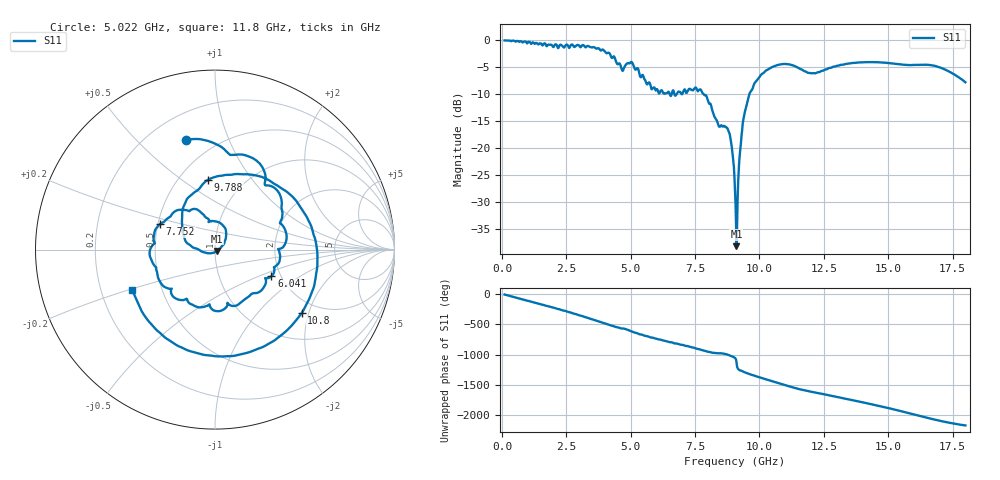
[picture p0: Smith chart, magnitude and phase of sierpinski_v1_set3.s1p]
!Keysight Technologies,N5222B,MY60213399,A.14.00.23
!Date: Monday, June 05, 2023 21:53:53
!Correction: S11(C  1-Port  )
!S1P File: Measurement: :
# Hz S  dB  R 50
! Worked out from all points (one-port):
!   1601 points, 100 MHz to 18 GHz, reference 50 ohm
!   lowest |S11| = -38.3 dB at 9.106 GHz (marker M1), VSWR 1.02, Z = 51 - j0.768 ohm
!   |S11| at or under -10 dB: 6.513 GHz to 6.588 GHz (75.12 MHz wide, 1.15 % of centre); 6.697 GHz to 6.78 GHz (82.57 MHz wide, 1.23 % of centre); 7.835 GHz to 9.611 GHz (1.776 GHz wide, 20.4 % of centre)
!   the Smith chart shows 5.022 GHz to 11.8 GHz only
!   S11 on the Smith chart (normalised r, x): 5.022 GHz: 0.35, +0.71; 6.041 GHz: 1.79, -0.60; 7.752 GHz: 0.51, +0.16; 9.788 GHz: 0.69, +0.63; 10.8 GHz: 1.63, -1.80; 11.8 GHz: 0.34, -0.21
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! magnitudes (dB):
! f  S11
! 100 MHz  0.0
! 2.337 GHz  -1.0
! 3.837 GHz  -1.9
! 4.575 GHz  -4.3
! 5.022 GHz  -4.0
! 6.041 GHz  -9.2
! 6.812 GHz  -9.8
! 7.752 GHz  -9.4
! 8.021 GHz  -11.5
! 8.39 GHz  -15.5
! 8.804 GHz  -16.9
! 8.938 GHz  -20.3
! 8.983 GHz  -22.5
! 9.05 GHz  -27.6
! 9.106 GHz  -38.3
! 9.162 GHz  -27.8
! 9.263 GHz  -20.0
! 9.386 GHz  -14.4
! 9.565 GHz  -10.8
! 9.788 GHz  -8.2
! 10.19 GHz  -5.9
! 10.8 GHz  -4.5
! 11.29 GHz  -4.6
! 11.8 GHz  -5.8
! 13.53 GHz  -4.3
! 15.76 GHz  -4.6
! 16.87 GHz  -4.8
! 18 GHz  -7.8
